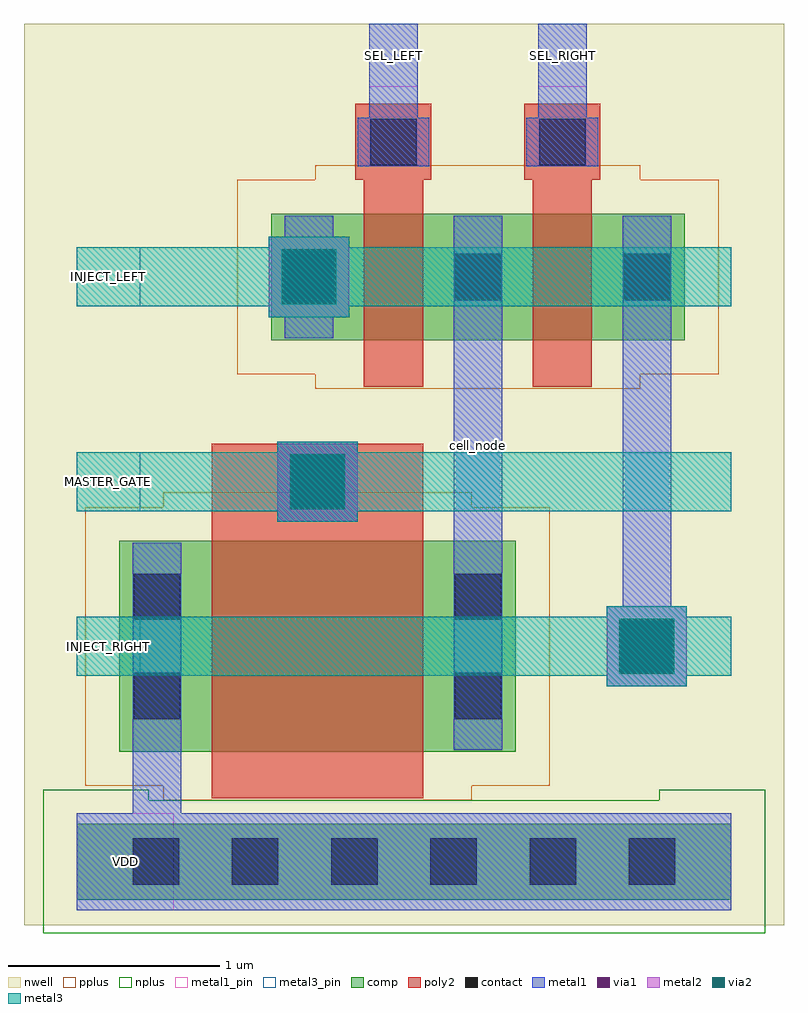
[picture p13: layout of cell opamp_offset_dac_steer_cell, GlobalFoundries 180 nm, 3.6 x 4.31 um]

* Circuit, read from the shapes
.subckt opamp_offset_dac_steer_cell INJECT_LEFT INJECT_RIGHT MASTER_GATE SEL_LEFT SEL_RIGHT VDD cell_node
XM1 cell_node MASTER_GATE VDD VDD pfet_03v3 w=1u l=1u
XM2 cell_node SEL_LEFT INJECT_LEFT VDD pfet_03v3 w=0.6u l=0.28u
XM3 INJECT_RIGHT SEL_RIGHT cell_node VDD pfet_03v3 w=0.6u l=0.28u
.ends

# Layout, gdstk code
import gdstk
lib = gdstk.Library(unit=1e-6, precision=1e-09)
def R(c, l, rs):  # rectangles x0, y0, x1, y1
    for r in rs: c.add(gdstk.rectangle(r[:2], r[2:], *l))
def A(c, l, x, y, w, h, nx, ny, dx, dy):  # array of equal rectangles
    R(c, l, [(x+i*dx, y+j*dy, x+i*dx+w, y+j*dy+h) for i in range(nx) for j in range(ny)])
nwell = (21, 0)
comp = (22, 0)
poly2 = (30, 0)
pplus = (31, 0)
nplus = (32, 0)
contact = (33, 0)
metal1 = (34, 0)
metal1_pin = (34, 10)
via1 = (35, 0)
metal2 = (36, 0)
via2 = (38, 0)
metal3 = (42, 0)
metal3_pin = (42, 10)

opamp_offset_dac_steer_c = lib.new_cell('opamp_offset_dac_steer_cell')
R(opamp_offset_dac_steer_c, nwell, [(-0.25,-0.07,3.35,4.2)])
R(opamp_offset_dac_steer_c, comp, [(0,0.05,3.1,0.41), (0.2,0.75,2.08,1.75), (0.92,2.7,2.88,3.3)])
R(opamp_offset_dac_steer_c, poly2, [(0.64,0.53,1.64,2.21), (1.36,2.48,1.64,3.46), (2.16,2.48,2.44,3.46), (1.32,3.46,1.68,3.82), (2.12,3.46,2.48,3.82)])
R(opamp_offset_dac_steer_c, pplus, [(0.41,0.52,1.87,0.59), (0.04,0.59,2.24,1.91), (0.41,1.91,1.87,1.98), (1.13,2.47,2.67,2.54), (0.76,2.54,3.04,3.46), (1.13,3.46,2.67,3.53)])
R(opamp_offset_dac_steer_c, nplus, [(-0.16,-0.11,3.26,0.52), (-0.16,0.52,0.34,0.57), (2.76,0.52,3.26,0.57)])
A(opamp_offset_dac_steer_c, contact, 0.265, 0.12, 0.22, 0.22, 6, 1, 0.47, 0)
A(opamp_offset_dac_steer_c, contact, 0.99, 2.89, 0.22, 0.22, 3, 1, 0.8, 0)
R(opamp_offset_dac_steer_c, contact, [(0.27,0.905,0.49,1.125), (1.79,0.905,2.01,1.125), (0.27,1.375,0.49,1.595), (1.79,1.375,2.01,1.595), (1.03,1.92,1.25,2.14), (1.39,3.53,1.61,3.75), (2.19,3.53,2.41,3.75)])
R(opamp_offset_dac_steer_c, metal1, [(0,0,3.1,0.46), (0.265,0.46,0.495,1.74), (1.785,0.76,2.015,3.29), (2.51,1.06,2.89,1.44), (2.585,1.44,2.815,3.29), (0.95,1.84,1.33,2.22), (0.985,2.71,1.215,2.81), (0.91,2.81,1.29,3.19), (0.985,3.19,1.215,3.29), (1.33,3.525,1.67,3.755), (2.13,3.525,2.47,3.755), (1.385,3.755,1.615,4.2), (2.185,3.755,2.415,4.2)])
R(opamp_offset_dac_steer_c, metal1_pin, [(0,0,0.46,0.46), (1.385,3.9,1.615,4.2), (2.185,3.9,2.415,4.2)])
R(opamp_offset_dac_steer_c, via1, [(2.57,1.12,2.83,1.38), (1.01,1.9,1.27,2.16), (0.97,2.87,1.23,3.13)])
R(opamp_offset_dac_steer_c, metal2, [(2.51,1.06,2.89,1.44), (0.95,1.84,1.33,2.22), (0.91,2.81,1.29,3.19)])
R(opamp_offset_dac_steer_c, via2, [(2.57,1.12,2.83,1.38), (1.01,1.9,1.27,2.16), (0.97,2.87,1.23,3.13)])
R(opamp_offset_dac_steer_c, metal3, [(2.51,1.06,2.89,1.11), (0,1.11,3.1,1.39), (2.51,1.39,2.89,1.44), (0.95,1.84,1.33,1.89), (0,1.89,3.1,2.17), (0.95,2.17,1.33,2.22), (0.91,2.81,1.29,2.86), (0,2.86,3.1,3.14), (0.91,3.14,1.29,3.19)])
R(opamp_offset_dac_steer_c, metal3_pin, [(0,1.11,0.3,1.39), (0,1.89,0.3,2.17), (0,2.86,0.3,3.14)])
opamp_offset_dac_steer_c.add(gdstk.Label('cell_node', (1.9,2.2), layer=34, texttype=0))
opamp_offset_dac_steer_c.add(gdstk.Label('SEL_RIGHT', (2.3,4.05), layer=34, texttype=10))
opamp_offset_dac_steer_c.add(gdstk.Label('VDD', (0.23,0.23), layer=34, texttype=10))
opamp_offset_dac_steer_c.add(gdstk.Label('SEL_LEFT', (1.5,4.05), layer=34, texttype=10))
opamp_offset_dac_steer_c.add(gdstk.Label('INJECT_LEFT', (0.15,3), layer=42, texttype=10))
opamp_offset_dac_steer_c.add(gdstk.Label('INJECT_RIGHT', (0.15,1.25), layer=42, texttype=10))
opamp_offset_dac_steer_c.add(gdstk.Label('MASTER_GATE', (0.15,2.03), layer=42, texttype=10))

lib.write_gds('opamp_offset_dac_steer_cell.gds')
